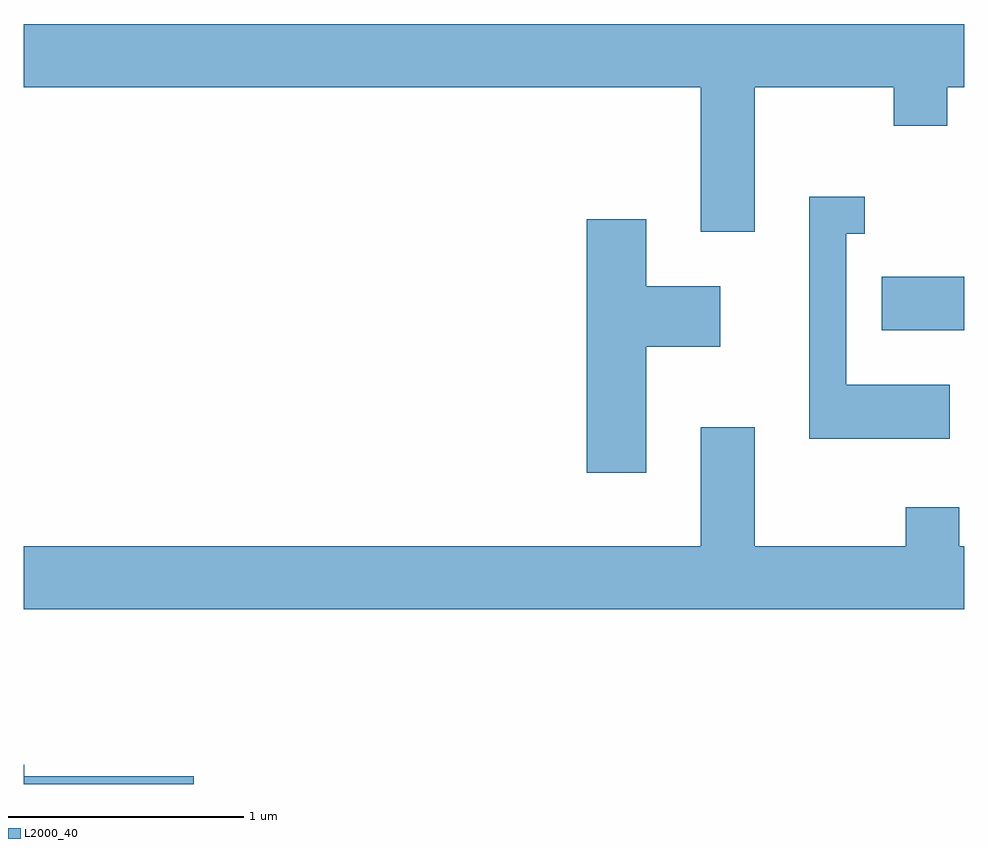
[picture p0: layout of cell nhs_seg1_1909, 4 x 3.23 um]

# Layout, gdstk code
import gdstk
lib = gdstk.Library(unit=1e-6, precision=1e-09)
def R(c, l, rs):  # rectangles x0, y0, x1, y1
    for r in rs: c.add(gdstk.rectangle(r[:2], r[2:], *l))
def P(c, l, *ps):  # polygons
    for p in ps: c.add(gdstk.Polygon(p, *l))
L2000_40 = (2000, 40)

nhs_seg1_1909 = lib.new_cell('nhs_seg1_1909')
R(nhs_seg1_1909, L2000_40, [(247.261,909.641,247.611,909.869)])
P(nhs_seg1_1909, L2000_40, [(246.719,910.676),(247.311,910.676),(247.311,910.511),(247.539,910.511),(247.539,910.676),(247.611,910.676),(247.611,910.944),(243.611,910.944),(243.611,910.676),(246.491,910.676),(246.491,910.061),(246.719,910.061)],
  [(247.549,909.409),(247.109,909.409),(247.109,910.051),(247.188,910.051),(247.188,910.209),(246.951,910.209),(246.951,909.181),(247.549,909.181)],
  [(246.259,909.571),(246.574,909.571),(246.574,909.829),(246.259,909.829),(246.259,910.114),(246.006,910.114),(246.006,909.036),(246.259,909.036)],
  [(247.611,908.724),(247.589,908.724),(247.589,908.889),(247.361,908.889),(247.361,908.724),(246.719,908.724),(246.719,909.229),(246.491,909.229),(246.491,908.724),(243.611,908.724),(243.611,908.456),(247.611,908.456)],
  [(244.334,907.744),(243.614,907.744),(243.614,907.794),(243.611,907.794),(243.611,907.712),(244.334,907.712)])

lib.write_gds('nhs_seg1_1909.gds')
